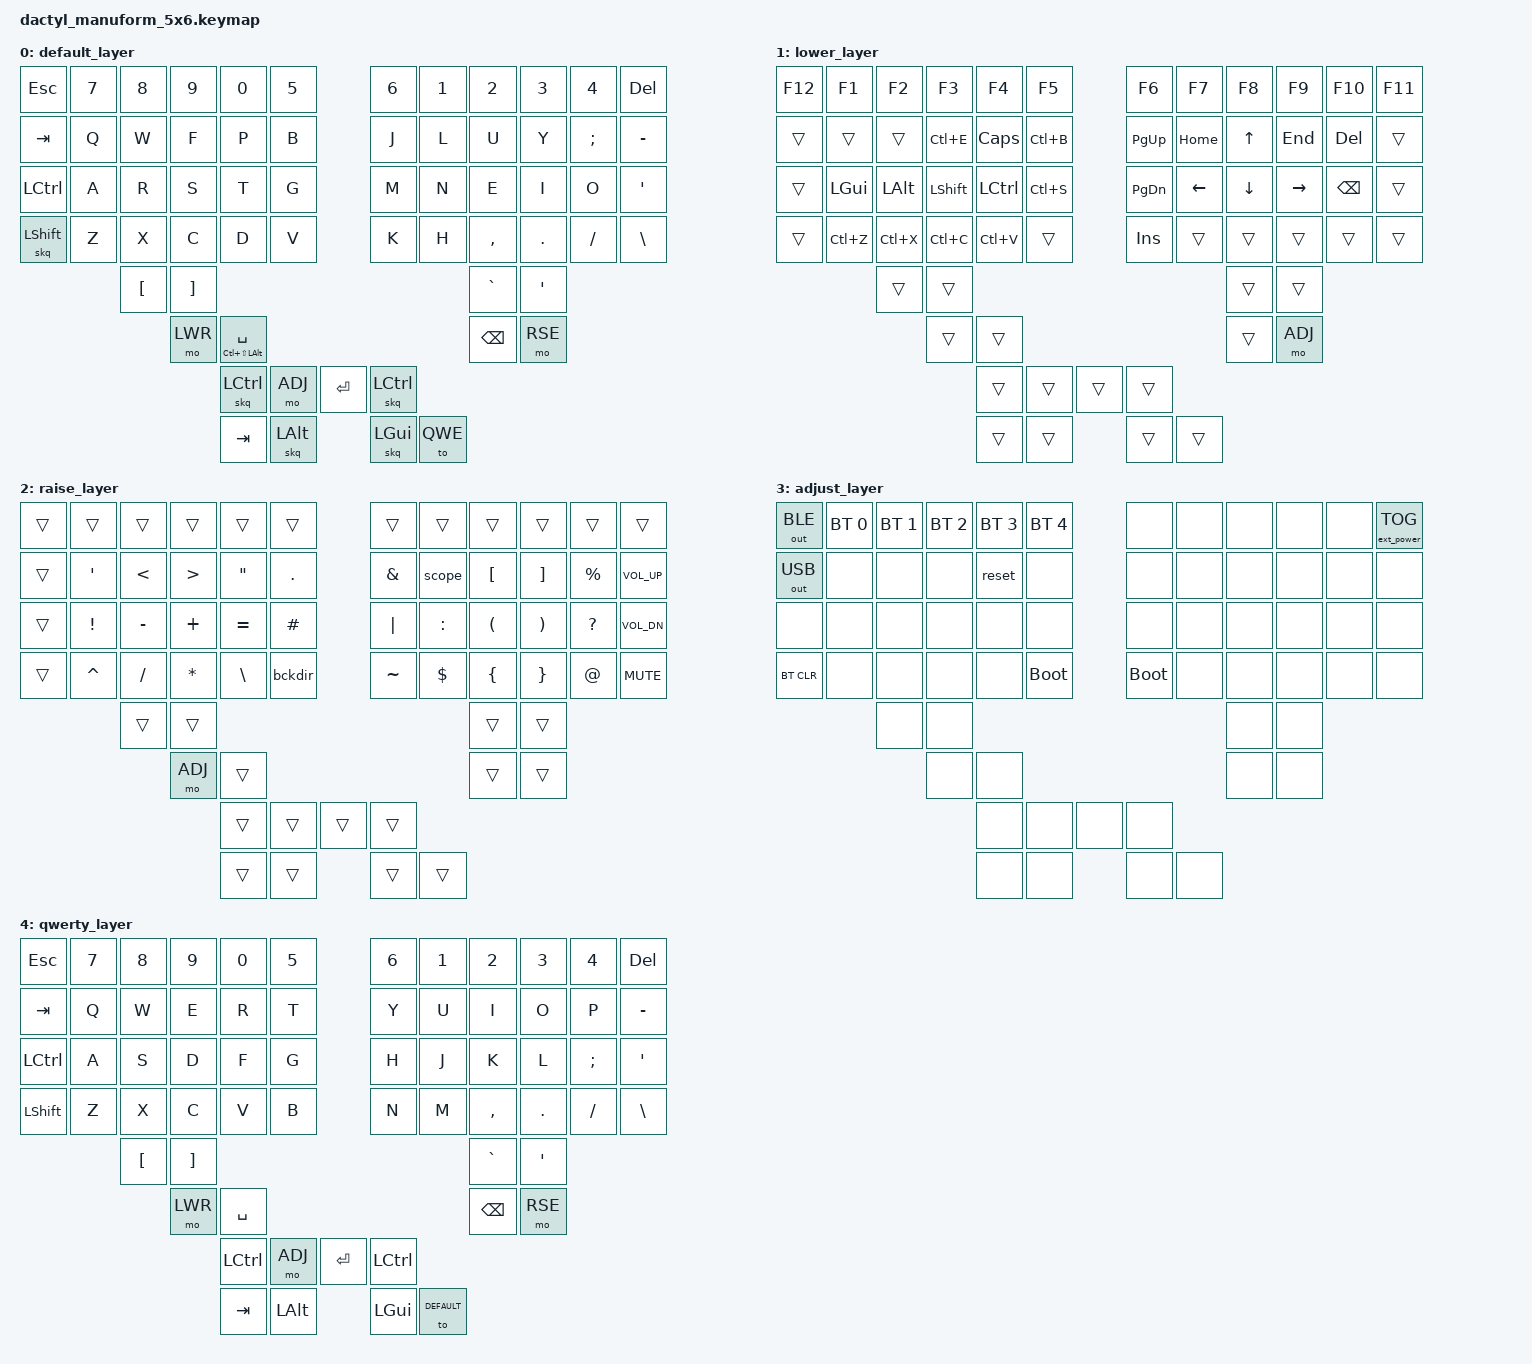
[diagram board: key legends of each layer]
#include <behaviors.dtsi>
#include <dt-bindings/zmk/keys.h>
#include <dt-bindings/zmk/bt.h>
#include <dt-bindings/zmk/rgb.h>
#include <dt-bindings/zmk/ext_power.h>
#include <dt-bindings/zmk/outputs.h>

#define DEFAULT 0
#define LWR 1
#define RSE 2
#define ADJ 3
#define QWE 4

/ {
  behaviors {
    skq: sticky_key_quick_release {
      compatible = "zmk,behavior-sticky-key";
      label = "STICKY_KEY_QUICK_RELEASE";
      #binding-cells = <1>;
      bindings = <&kp>;
      release-after-ms = <50000>;
      quick-release;
    };
  };

    macros {
        scope: scope {
            label = "scope key";
            compatible = "zmk,behavior-macro";
            #binding-cells = <0>;
            bindings
                = <&macro_tap &kp COLON &kp COLON> ;
        };

        bckdir: bckdir {
            label = "Back up in a linux directory";
            compatible = "zmk,behavior-macro";
            #binding-cells = <0>;
            bindings
                = <&macro_tap &kp DOT &kp DOT &kp FSLH> ;
        };
    };

  keymap {
        compatible = "zmk,keymap";

        default_layer {
            bindings = <
                &kp ESC   &kp N7 &kp N8    &kp N9   &kp N0  &kp N5             &kp N6 &kp N1   &kp N2    &kp N3   &kp N4   &kp DEL 
                &kp TAB   &kp Q  &kp W     &kp F    &kp P   &kp B              &kp J  &kp L    &kp U     &kp Y    &kp SEMI &kp MINUS
                &kp LCTRL &kp A  &kp R     &kp S    &kp T   &kp G              &kp M  &kp N    &kp E     &kp I    &kp O    &kp SQT
                &skq LSHFT &kp Z  &kp X     &kp C    &kp D   &kp V              &kp K  &kp H    &kp COMMA &kp DOT  &kp FSLH &kp BSLH
                                 &kp LBKT   &kp RBKT                                           &kp GRAVE &kp SQT
                                        &mo LWR   &mt LC(LS(LALT)) SPACE                      &kp BSPC &mo RSE
                                                  &skq LCTRL &mo ADJ    &kp RET &skq LCTRL 
                                                  &kp TAB   &skq LALT   &skq LGUI  &to QWE
            >;
        };

        lower_layer {
            bindings = <
                &kp F12 &kp F1    &kp F2    &kp F3    &kp F4    &kp F5         &kp F6    &kp F7    &kp F8    &kp F9    &kp F10  &kp F11
                &trans  &trans    &trans    &kp LC(E) &kp CAPS  &kp LC(B)      &kp PG_UP &kp HOME  &kp UP    &kp END   &kp DEL  &trans
                &trans  &kp LGUI  &kp LALT  &kp LSHFT &kp LCTRL &kp LC(S)      &kp PG_DN &kp LEFT  &kp DOWN  &kp RIGHT &kp BSPC &trans
                &trans  &kp LC(Z) &kp LC(X) &kp LC(C) &kp LC(V) &trans         &kp INS   &trans    &trans    &trans    &trans   &trans
                               &trans &trans                                                       &trans    &trans
                                            &trans   &trans                         &trans    &mo ADJ
                                                     &trans    &trans       &trans  &trans
                                                     &trans    &trans       &trans  &trans
            >;
        };

        raise_layer {
            bindings = <
                &trans  &trans    &trans    &trans     &trans    &trans                      &trans    &trans    &trans    &trans    &trans    &trans
                &trans  &kp APOS  &kp LT &kp GT   &kp DQT  &kp PERIOD                    &kp AMPS   &scope    &kp LBKT    &kp RBKT  &kp PERCENT &kp K_VOL_UP
                &trans  &kp EXCL  &kp MINUS &kp PLUS   &kp EQUAL &kp POUND                   &kp PIPE   &kp COLON &kp LPAR   &kp RPAR   &kp QMARK   &kp K_VOL_DN
                &trans  &kp CARET &kp FSLH  &kp STAR   &kp BSLH &bckdir                     &kp TILDE  &kp DLLR  &kp LBRC   &kp RBRC   &kp AT      &kp K_MUTE
                               &trans &trans                                                                       &trans    &trans
                                            &mo ADJ  &trans                         &trans    &trans
                                                     &trans    &trans       &trans  &trans
                                                     &trans    &trans       &trans  &trans
            >;
        };

        adjust_layer {
            bindings = <
                &out OUT_BLE &bt BT_SEL 0 &bt BT_SEL 1 &bt BT_SEL 2 &bt BT_SEL 3 &bt BT_SEL 4              &none           &none           &none           &none           &none           &ext_power EP_TOG
                &out OUT_USB &none        &none        &none        &reset       &none                     &none           &none           &none           &none           &none           &none
                &none        &none        &none        &none        &none        &none                     &none           &none           &none           &none           &none           &none
                &bt BT_CLR   &none        &none        &none        &none        &bootloader               &bootloader     &none           &none           &none           &none           &none
                                          &none        &none                                                                               &none           &none
                                                            &none &none                                    &none &none
                                                                  &none &none                        &none &none
                                                                  &none &none                        &none &none
            >;
        };

        qwerty_layer {
            bindings = <
                &kp ESC   &kp N7 &kp N8    &kp N9   &kp N0  &kp N5             &kp N6 &kp N1   &kp N2    &kp N3   &kp N4   &kp DEL 
                &kp TAB   &kp Q  &kp W     &kp E    &kp R   &kp T              &kp Y  &kp U    &kp I     &kp O    &kp P    &kp MINUS
                &kp LCTRL &kp A  &kp S     &kp D    &kp F   &kp G              &kp H  &kp J    &kp K     &kp L    &kp SEMI &kp SQT
                &kp LSHFT &kp Z  &kp X     &kp C    &kp V   &kp B              &kp N  &kp M    &kp COMMA &kp DOT  &kp FSLH &kp BSLH
                                 &kp LBKT   &kp RBKT                                           &kp GRAVE &kp SQT
                                        &mo LWR   &kp SPACE                      &kp BSPC &mo RSE
                                                  &kp LCTRL &mo ADJ    &kp RET &kp LCTRL 
                                                  &kp TAB   &kp LALT   &kp LGUI  &to DEFAULT
            >;
        };

    };
};
